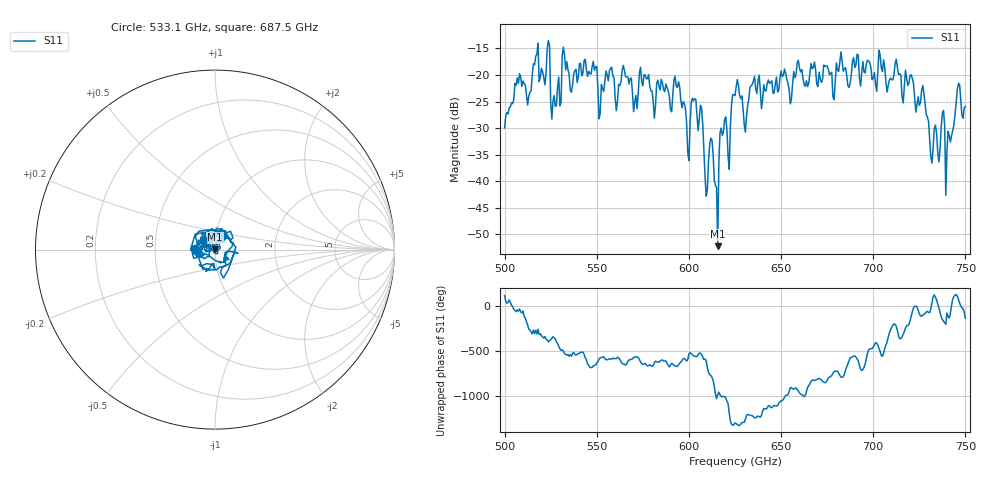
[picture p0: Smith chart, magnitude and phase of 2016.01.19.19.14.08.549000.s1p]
!Created with skrf (http://scikit-rf.org).
# GHz S RI R 50.0
!freq ReS11 ImS11
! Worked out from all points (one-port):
!   401 points, 500 GHz to 750 GHz, reference 50 ohm
!   lowest |S11| = -52.2 dB at 615.6 GHz (marker M1), VSWR 1.00, Z = 50 + j0.245 ohm
!   |S11| at or under -10 dB: start of sweep to end of sweep
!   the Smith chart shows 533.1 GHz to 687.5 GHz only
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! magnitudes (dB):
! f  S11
! 500 GHz  -30.0
! 506.9 GHz  -20.5
! 513.1 GHz  -24.0
! 516.9 GHz  -16.5
! 523.1 GHz  -15.0
! 526.2 GHz  -25.0
! 531.2 GHz  -16.4
! 562.5 GHz  -22.0
! 593.8 GHz  -22.3
! 599.4 GHz  -34.5
! 602.5 GHz  -24.9
! 606.9 GHz  -26.3
! 609.4 GHz  -42.8
! 611.9 GHz  -31.9
! 615.6 GHz  -52.2
! 618.1 GHz  -31.4
! 621.9 GHz  -37.7
! 625 GHz  -23.9
! 630.6 GHz  -30.8
! 634.4 GHz  -21.8
! 656.2 GHz  -21.6
! 687.5 GHz  -21.5
! 718.8 GHz  -22.0
! 727.5 GHz  -23.5
! 731.9 GHz  -36.6
! 740.6 GHz  -30.6
! 746.2 GHz  -21.6
! 750 GHz  -25.9
